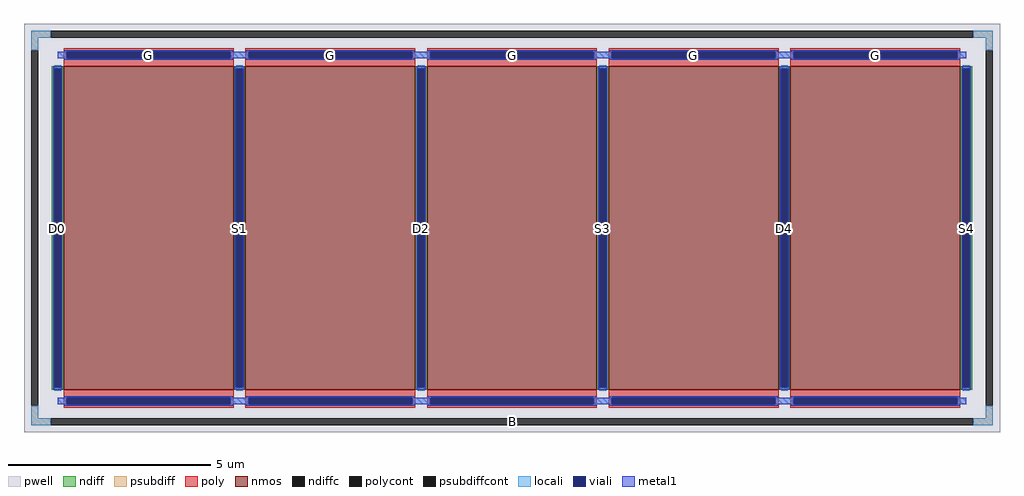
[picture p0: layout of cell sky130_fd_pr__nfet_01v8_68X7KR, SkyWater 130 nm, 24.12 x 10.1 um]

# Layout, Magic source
magic
tech sky130A
magscale 1 2
<< pwell >>
rect -2412 -1010 2412 1010
<< nmos >>
rect -2216 -800 -1376 800
rect -1318 -800 -478 800
rect -420 -800 420 800
rect 478 -800 1318 800
rect 1376 -800 2216 800
<< ndiff >>
rect -2274 788 -2216 800
rect -2274 -788 -2262 788
rect -2228 -788 -2216 788
rect -2274 -800 -2216 -788
rect -1376 788 -1318 800
rect -1376 -788 -1364 788
rect -1330 -788 -1318 788
rect -1376 -800 -1318 -788
rect -478 788 -420 800
rect -478 -788 -466 788
rect -432 -788 -420 788
rect -478 -800 -420 -788
rect 420 788 478 800
rect 420 -788 432 788
rect 466 -788 478 788
rect 420 -800 478 -788
rect 1318 788 1376 800
rect 1318 -788 1330 788
rect 1364 -788 1376 788
rect 1318 -800 1376 -788
rect 2216 788 2274 800
rect 2216 -788 2228 788
rect 2262 -788 2274 788
rect 2216 -800 2274 -788
<< ndiffc >>
rect -2262 -788 -2228 788
rect -1364 -788 -1330 788
rect -466 -788 -432 788
rect 432 -788 466 788
rect 1330 -788 1364 788
rect 2228 -788 2262 788
<< psubdiff >>
rect -2376 940 -2280 974
rect 2280 940 2376 974
rect -2376 878 -2342 940
rect 2342 878 2376 940
rect -2376 -940 -2342 -878
rect 2342 -940 2376 -878
rect -2376 -974 -2280 -940
rect 2280 -974 2376 -940
<< psubdiffcont >>
rect -2280 940 2280 974
rect -2376 -878 -2342 878
rect 2342 -878 2376 878
rect -2280 -974 2280 -940
<< poly >>
rect -2216 872 -1376 888
rect -2216 838 -2200 872
rect -1392 838 -1376 872
rect -2216 800 -1376 838
rect -1318 872 -478 888
rect -1318 838 -1302 872
rect -494 838 -478 872
rect -1318 800 -478 838
rect -420 872 420 888
rect -420 838 -404 872
rect 404 838 420 872
rect -420 800 420 838
rect 478 872 1318 888
rect 478 838 494 872
rect 1302 838 1318 872
rect 478 800 1318 838
rect 1376 872 2216 888
rect 1376 838 1392 872
rect 2200 838 2216 872
rect 1376 800 2216 838
rect -2216 -838 -1376 -800
rect -2216 -872 -2200 -838
rect -1392 -872 -1376 -838
rect -2216 -888 -1376 -872
rect -1318 -838 -478 -800
rect -1318 -872 -1302 -838
rect -494 -872 -478 -838
rect -1318 -888 -478 -872
rect -420 -838 420 -800
rect -420 -872 -404 -838
rect 404 -872 420 -838
rect -420 -888 420 -872
rect 478 -838 1318 -800
rect 478 -872 494 -838
rect 1302 -872 1318 -838
rect 478 -888 1318 -872
rect 1376 -838 2216 -800
rect 1376 -872 1392 -838
rect 2200 -872 2216 -838
rect 1376 -888 2216 -872
<< polycont >>
rect -2200 838 -1392 872
rect -1302 838 -494 872
rect -404 838 404 872
rect 494 838 1302 872
rect 1392 838 2200 872
rect -2200 -872 -1392 -838
rect -1302 -872 -494 -838
rect -404 -872 404 -838
rect 494 -872 1302 -838
rect 1392 -872 2200 -838
<< locali >>
rect -2376 940 -2280 974
rect 2280 940 2376 974
rect -2376 878 -2342 940
rect 2342 878 2376 940
rect -2245 838 -2200 872
rect -1392 838 -1302 872
rect -494 838 -404 872
rect 404 838 494 872
rect 1302 838 1392 872
rect 2200 838 2245 872
rect -2262 788 -2228 804
rect -2262 -804 -2228 -788
rect -1364 788 -1330 804
rect -1364 -804 -1330 -788
rect -466 788 -432 804
rect -466 -804 -432 -788
rect 432 788 466 804
rect 432 -804 466 -788
rect 1330 788 1364 804
rect 1330 -804 1364 -788
rect 2228 788 2262 804
rect 2228 -804 2262 -788
rect -2245 -872 -2200 -838
rect -1392 -872 -1302 -838
rect -494 -872 -404 -838
rect 404 -872 494 -838
rect 1302 -872 1392 -838
rect 2200 -872 2245 -838
rect -2376 -940 -2342 -878
rect 2342 -940 2376 -878
rect -2376 -974 -2280 -940
rect 2280 -974 2376 -940
<< viali >>
rect -2200 838 -1392 872
rect -1302 838 -494 872
rect -404 838 404 872
rect 494 838 1302 872
rect 1392 838 2200 872
rect -2262 -788 -2228 788
rect -1364 -788 -1330 788
rect -466 -788 -432 788
rect 432 -788 466 788
rect 1330 -788 1364 788
rect 2228 -788 2262 788
rect -2200 -872 -1392 -838
rect -1302 -872 -494 -838
rect -404 -872 404 -838
rect 494 -872 1302 -838
rect 1392 -872 2200 -838
<< metal1 >>
rect -2212 872 -1380 878
rect -1314 872 -482 878
rect -416 872 416 878
rect 482 872 1314 878
rect 1380 872 2212 878
rect -2245 838 -2200 872
rect -1392 838 -1302 872
rect -494 838 -404 872
rect 404 838 494 872
rect 1302 838 1392 872
rect 2200 838 2245 872
rect -2212 832 -1380 838
rect -1314 832 -482 838
rect -416 832 416 838
rect 482 832 1314 838
rect 1380 832 2212 838
rect -2268 788 -2222 800
rect -2268 -788 -2262 788
rect -2228 -788 -2222 788
rect -2268 -800 -2222 -788
rect -1370 788 -1324 800
rect -1370 -788 -1364 788
rect -1330 -788 -1324 788
rect -1370 -800 -1324 -788
rect -472 788 -426 800
rect -472 -788 -466 788
rect -432 -788 -426 788
rect -472 -800 -426 -788
rect 426 788 472 800
rect 426 -788 432 788
rect 466 -788 472 788
rect 426 -800 472 -788
rect 1324 788 1370 800
rect 1324 -788 1330 788
rect 1364 -788 1370 788
rect 1324 -800 1370 -788
rect 2222 788 2268 800
rect 2222 -788 2228 788
rect 2262 -788 2268 788
rect 2222 -800 2268 -788
rect -2212 -838 -1380 -832
rect -1314 -838 -482 -832
rect -416 -838 416 -832
rect 482 -838 1314 -832
rect 1380 -838 2212 -832
rect -2245 -872 -2200 -838
rect -1392 -872 -1302 -838
rect -494 -872 -404 -838
rect 404 -872 494 -838
rect 1302 -872 1392 -838
rect 2200 -872 2245 -838
rect -2212 -878 -1380 -872
rect -1314 -878 -482 -872
rect -416 -878 416 -872
rect 482 -878 1314 -872
rect 1380 -878 2212 -872
<< labels >>
rlabel psubdiffcont 0 -957 0 -957 0 B
port 1 nsew
rlabel ndiffc -2245 0 -2245 0 0 D0
port 2 nsew
rlabel polycont -1796 855 -1796 855 0 G
port 3 nsew
rlabel ndiffc -1347 0 -1347 0 0 S1
port 4 nsew
rlabel polycont -898 855 -898 855 0 G
port 3 nsew
rlabel ndiffc -449 0 -449 0 0 D2
port 5 nsew
rlabel polycont 0 855 0 855 0 G
port 3 nsew
rlabel ndiffc 449 0 449 0 0 S3
port 6 nsew
rlabel polycont 898 855 898 855 0 G
port 3 nsew
rlabel ndiffc 1347 0 1347 0 0 D4
port 7 nsew
rlabel ndiffc 2245 0 2245 0 0 S4
port 8 nsew
rlabel polycont 1796 855 1796 855 0 G
port 3 nsew
<< properties >>
string FIXED_BBOX -2359 -957 2359 957
string gencell sky130_fd_pr__nfet_01v8
string library sky130
string parameters w 8 l 4.2 m 1 nf 5 diffcov 100 polycov 100 guard 1 glc 1 grc 1 gtc 1 gbc 1 tbcov 100 rlcov 100 topc 1 botc 1 poverlap 0 doverlap 1 lmin 0.15 wmin 0.42 class mosfet compatible {sky130_fd_pr__nfet_01v8 sky130_fd_pr__nfet_01v8_lvt  sky130_fd_bs_flash__special_sonosfet_star  sky130_fd_pr__nfet_g5v0d10v5 sky130_fd_pr__nfet_05v0_nvt  sky130_fd_pr__nfet_03v3_nvt} full_metal 1 conn_gates 1 viasrc 100 viadrn 100 viagate 100 viagb 0 viagr 0 viagl 0 viagt 0 doports 1
<< end >>
